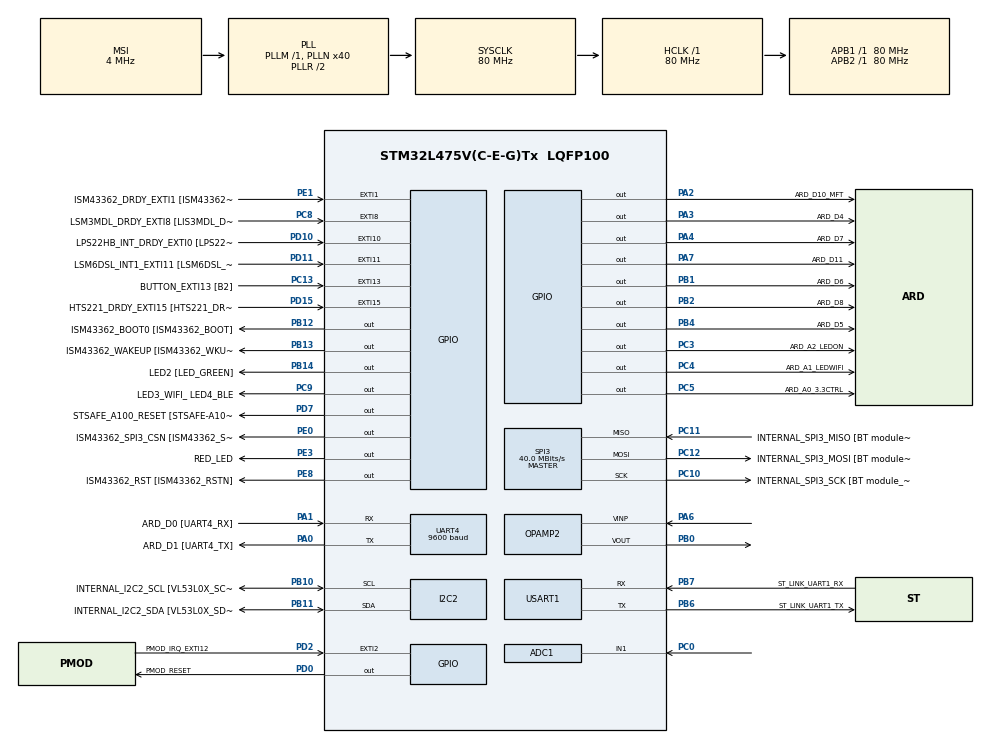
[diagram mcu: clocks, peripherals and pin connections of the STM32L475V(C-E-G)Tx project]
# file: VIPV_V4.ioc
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ADC1.Channel-1\#ChannelRegularConversion=ADC_CHANNEL_1
ADC1.ClockPrescaler=ADC_CLOCK_ASYNC_DIV12
ADC1.ContinuousConvMode=ENABLE
ADC1.DMAContinuousRequests=ENABLE
ADC1.EOCSelection=ADC_EOC_SINGLE_CONV
ADC1.EnableAnalogWatchDog1=false
ADC1.ExternalTrigConv=ADC_EXTERNALTRIG_T3_TRGO
ADC1.LowPowerAutoWait=ENABLE
ADC1.NbrOfConversionFlag=1
ADC1.OffsetNumber-1\#ChannelRegularConversion=ADC_OFFSET_NONE
ADC1.OversamplingMode=ENABLE
ADC1.Rank-1\#ChannelRegularConversion=1
ADC1.Ratio=ADC_OVERSAMPLING_RATIO_64
ADC1.RightBitShift=ADC_RIGHTBITSHIFT_6
ADC1.SamplingTime-1\#ChannelRegularConversion=ADC_SAMPLETIME_92CYCLES_5
ADC1.master=1
Dma.ADC1.0.Direction=DMA_PERIPH_TO_MEMORY
Dma.ADC1.0.Instance=DMA1_Channel1
Dma.ADC1.0.MemDataAlignment=DMA_MDATAALIGN_HALFWORD
Dma.ADC1.0.MemInc=DMA_MINC_ENABLE
Dma.ADC1.0.Mode=DMA_CIRCULAR
Dma.ADC1.0.PeriphDataAlignment=DMA_PDATAALIGN_HALFWORD
Dma.ADC1.0.PeriphInc=DMA_PINC_DISABLE
Dma.ADC1.0.Priority=DMA_PRIORITY_LOW
Dma.Request0=ADC1
Dma.Request1=UART4_RX
Dma.UART4_RX.1.Direction=DMA_PERIPH_TO_MEMORY
Dma.UART4_RX.1.Instance=DMA2_Channel5
Dma.UART4_RX.1.MemDataAlignment=DMA_MDATAALIGN_BYTE
Dma.UART4_RX.1.MemInc=DMA_MINC_ENABLE
Dma.UART4_RX.1.Mode=DMA_CIRCULAR
Dma.UART4_RX.1.PeriphDataAlignment=DMA_PDATAALIGN_BYTE
Dma.UART4_RX.1.PeriphInc=DMA_PINC_DISABLE
Dma.UART4_RX.1.Priority=DMA_PRIORITY_LOW
I2C2.Timing=0x10909CEC
LPTIM1.ClockPrescaler=LPTIM_PRESCALER_DIV128
LPTIM2.ClockPrescaler=LPTIM_PRESCALER_DIV128
Mcu.Family=STM32L4
Mcu.Name=STM32L475V(C-E-G)Tx
Mcu.Package=LQFP100
NVIC.DMA1_Channel1_IRQn=true\:0\:0\:true\:false\:true\:false\:true\:true
NVIC.DMA2_Channel5_IRQn=true\:0\:0\:false\:false\:true\:false\:true\:true
NVIC.EXTI15_10_IRQn=true\:0\:0\:true\:false\:true\:true\:true\:true
NVIC.EXTI9_5_IRQn=true\:0\:0\:true\:false\:true\:true\:true\:true
NVIC.LPTIM1_IRQn=true\:0\:0\:false\:false\:true\:true\:true\:true
NVIC.LPTIM2_IRQn=true\:0\:0\:false\:false\:true\:true\:true\:true
NVIC.PriorityGroup=NVIC_PRIORITYGROUP_3
NVIC.RTC_WKUP_IRQn=true\:0\:0\:true\:false\:true\:true\:true\:true
NVIC.SPI3_IRQn=true\:0\:0\:true\:false\:true\:true\:true\:true
NVIC.TIM6_DAC_IRQn=true\:0\:0\:false\:false\:true\:true\:true\:true
OPAMP2.PgaGain=OPAMP_PGA_GAIN_4
OPAMP2.PowerMode=OPAMP_POWERMODE_LOWPOWER
OPAMP2.PowerSupplyRange=OPAMP_POWERSUPPLY_HIGH
OPAMP2.SelfCalibration=Enable
PA0.GPIO_Label=ARD_D1 [UART4_TX]
PA0.Mode=Asynchronous
PA0.Signal=UART4_TX
PA1.GPIO_Label=ARD_D0 [UART4_RX]
PA1.Mode=Asynchronous
PA1.Signal=UART4_RX
PA13\ (JTMS-SWDIO).GPIO_Label=SYS_JTMS_SWDIO
PA13\ (JTMS-SWDIO).Mode=Serial_Wire
PA13\ (JTMS-SWDIO).Signal=SYS_JTMS-SWDIO
PA14\ (JTCK-SWCLK).GPIO_Label=SYS_JTCK_SWCLK
PA14\ (JTCK-SWCLK).Mode=Serial_Wire
PA14\ (JTCK-SWCLK).Signal=SYS_JTCK-SWCLK
PA2.GPIO_Label=ARD_D10_MFT
PA2.GPIO_PuPd=GPIO_PULLDOWN
PA2.PinState=GPIO_PIN_RESET
PA2.Signal=GPIO_Output
PA3.GPIO_Label=ARD_D4
PA3.GPIO_ModeDefaultOutputPP=GPIO_MODE_OUTPUT_PP
PA3.GPIO_PuPd=GPIO_PULLUP
PA3.PinState=GPIO_PIN_SET
PA3.Signal=GPIO_Output
PA4.GPIO_Label=ARD_D7
PA4.GPIO_PuPd=GPIO_PULLUP
PA4.PinState=GPIO_PIN_SET
PA4.Signal=GPIO_Output
PA6.Mode=PGA Not Connected
PA6.Signal=OPAMP2_VINP
PA7.GPIO_Label=ARD_D11
PA7.GPIO_ModeDefaultOutputPP=GPIO_MODE_OUTPUT_PP
PA7.GPIO_PuPd=GPIO_PULLUP
PA7.PinState=GPIO_PIN_SET
PA7.Signal=GPIO_Output
PB0.Mode=PGA Not Connected
PB0.Signal=OPAMP2_VOUT
PB1.GPIO_Label=ARD_D6
PB1.GPIO_PuPd=GPIO_PULLUP
PB1.PinState=GPIO_PIN_SET
PB1.Signal=GPIO_Output
PB10.GPIO_Label=INTERNAL_I2C2_SCL [VL53L0X_SCL]
PB10.GPIO_Pu=GPIO_PULLUP
PB10.Mode=I2C
PB10.Signal=I2C2_SCL
PB11.GPIO_Label=INTERNAL_I2C2_SDA [VL53L0X_SDA]
PB11.GPIO_Pu=GPIO_PULLUP
PB11.Mode=I2C
PB11.Signal=I2C2_SDA
PB12.GPIO_Label=ISM43362_BOOT0 [ISM43362_BOOT]
PB12.Signal=GPIO_Output
PB13.GPIO_Label=ISM43362_WAKEUP [ISM43362_WKUP]
PB13.Signal=GPIO_Output
PB14.GPIO_Label=LED2 [LED_GREEN]
PB14.Signal=GPIO_Output
PB2.GPIO_Label=ARD_D8
PB2.GPIO_ModeDefaultOutputPP=GPIO_MODE_OUTPUT_PP
PB2.GPIO_PuPd=GPIO_PULLUP
PB2.PinState=GPIO_PIN_SET
PB2.Signal=GPIO_Output
PB3\ (JTDO-TRACESWO).GPIO_Label=SYS_JTD0_SWO
PB3\ (JTDO-TRACESWO).Signal=SYS_JTDO-SWO
PB4\ (NJTRST).GPIO_Label=ARD_D5
PB4\ (NJTRST).GPIO_PuPd=GPIO_PULLUP
PB4\ (NJTRST).PinState=GPIO_PIN_SET
PB4\ (NJTRST).Signal=GPIO_Output
PB6.GPIO_Label=ST_LINK_UART1_TX
PB6.Mode=Asynchronous
PB6.Signal=USART1_TX
PB7.GPIO_Label=ST_LINK_UART1_RX
PB7.Mode=Asynchronous
PB7.Signal=USART1_RX
PB8.GPIO_Label=ARD_D15 [I2C1_SCL]
PB8.Signal=I2C1_SCL
PB9.GPIO_Label=ARD_D14 [I2C1_SDA]
PB9.Signal=I2C1_SDA
PC0.Signal=ADCx_IN1
PC10.GPIO_Label=INTERNAL_SPI3_SCK [BT module_SPI_SCLK] [ISM43362_SCK]
PC10.Mode=Full_Duplex_Master
PC10.Signal=SPI3_SCK
PC11.GPIO_Label=INTERNAL_SPI3_MISO [BT module_SPI_MISO] [ISM43362_MISO]
PC11.Mode=Full_Duplex_Master
PC11.Signal=SPI3_MISO
PC12.GPIO_Label=INTERNAL_SPI3_MOSI [BT module_SPI_MOSI] [ISM43362_MOSI]
PC12.Mode=Full_Duplex_Master
PC12.Signal=SPI3_MOSI
PC13.GPIO_Label=BUTTON_EXTI13 [B2]
PC13.GPIO_ModeDefaultEXTI=GPIO_MODE_IT_FALLING
PC13.Signal=GPXTI13
PC14-OSC32_IN\ (PC14).Mode=LSE-External-Oscillator
PC14-OSC32_IN\ (PC14).Signal=RCC_OSC32_IN
PC15-OSC32_OUT\ (PC15).Mode=LSE-External-Oscillator
PC15-OSC32_OUT\ (PC15).Signal=RCC_OSC32_OUT
PC3.GPIO_Label=ARD_A2_LEDON
PC3.GPIO_PuPd=GPIO_NOPULL
PC3.Signal=GPIO_Output
PC4.GPIO_Label=ARD_A1_LEDWIFI
PC4.GPIO_PuPd=GPIO_NOPULL
PC4.Signal=GPIO_Output
PC5.GPIO_Label=ARD_A0_3.3CTRL
PC5.GPIO_ModeDefaultOutputPP=GPIO_MODE_OUTPUT_PP
PC5.GPIO_PuPd=GPIO_PULLUP
PC5.PinState=GPIO_PIN_SET
PC5.Signal=GPIO_Output
PC8.GPIO_Label=LSM3MDL_DRDY_EXTI8 [LIS3MDL_DRDY]
PC8.Signal=GPXTI8
PC9.GPIO_Label=LED3_WIFI_ LED4_BLE
PC9.Signal=GPIO_Output
PD0.GPIO_Label=PMOD_RESET
PD0.Signal=GPIO_Output
PD1.GPIO_Label=PMOD_SPI2_SCK
PD1.Signal=SPI2_SCK
PD10.GPIO_Label=LPS22HB_INT_DRDY_EXTI0 [LPS22HB_INT_DRDY] 
PD10.Signal=GPXTI10
PD11.GPIO_Label=LSM6DSL_INT1_EXTI11 [LSM6DSL_INT1]
PD11.Signal=GPXTI11
PD15.GPIO_Label=HTS221_DRDY_EXTI15 [HTS221_DRDY]
PD15.Signal=GPXTI15
PD2.GPIO_Label=PMOD_IRQ_EXTI12
PD2.Signal=GPXTI2
PD3.GPIO_Label=PMOD_UART2_CTS
PD3.Signal=USART2_CTS
PD4.GPIO_Label=PMOD_UART2_RTS
PD4.Signal=USART2_RTS
PD5.GPIO_Label=PMOD_UART2_TX
PD5.Signal=USART2_TX
PD6.GPIO_Label=PMOD_UART2_RX
PD6.Signal=USART2_RX
PD7.GPIO_Label=STSAFE_A100_RESET [STSAFE-A100_RESET]
PD7.Signal=GPIO_Output
PD8.GPIO_Label=INTERNAL_UART3_TX [ISM43362_RX]
PD8.Signal=USART3_TX
PD9.GPIO_Label=INTERNAL_UART3_RX [ISM43362_TX]
PD9.Signal=USART3_RX
PE0.GPIO_Label=ISM43362_SPI3_CSN [ISM43362_SSN]
PE0.PinState=GPIO_PIN_SET
PE0.Signal=GPIO_Output
PE1.GPIO_Label=ISM43362_DRDY_EXTI1 [ISM43362_DATARDY]
PE1.Signal=GPXTI1
PE10.GPIO_Label=QUADSPI_CLK [MX25R6435F_SCLK]
PE10.Signal=QUADSPI_CLK
PE11.GPIO_Label=QUADSPI_NCS [MX25R6435F_SCLK]
PE11.Signal=QUADSPI_NCS
PE12.GPIO_Label=OQUADSPI_BK1_IO0 [MX25R6435F_IO0]
PE12.Signal=QUADSPI_BK1_IO0
PE13.GPIO_Label=QUADSPI_BK1_IO1 [MX25R6435F_IO1]
PE13.Signal=QUADSPI_BK1_IO1
PE14.GPIO_Label=QUAD_SPI_BK1_IO2 [MX25R6435F_IO2]
PE14.Signal=QUADSPI_BK1_IO2
PE15.GPIO_Label=QUAD_SPI_BK1_IO3 [MX25R6435F_IO3]
PE15.Signal=QUADSPI_BK1_IO3
PE3.GPIO_Label=RED_LED
PE3.Signal=GPIO_Output
PE7.GPIO_Label=DFSDM1_DATIN2 [MP34DT01_DOUT]
PE7.Signal=S_DATAIN2DFSDM1
PE8.GPIO_Label=ISM43362_RST [ISM43362_RSTN]
PE8.Signal=GPIO_Output
PE9.GPIO_Label=DFSDM1_CKOUT [MP34DT01_CLK]
PE9.Signal=S_CKOUTDFSDM1
ProjectManager.HeapSize=0x200
ProjectManager.StackSize=0x400
ProjectManager.TargetToolchain=STM32CubeIDE
RCC.ADCFreq_Value=48000000
RCC.AHBFreq_Value=80000000
RCC.APB1Freq_Value=80000000
RCC.APB1TimFreq_Value=80000000
RCC.APB2Freq_Value=80000000
RCC.APB2TimFreq_Value=80000000
RCC.CortexFreq_Value=80000000
RCC.HCLKFreq_Value=80000000
RCC.HSE_VALUE=8000000
RCC.HSI_VALUE=16000000
RCC.LPTIM1CLockSelection=RCC_LPTIM1CLKSOURCE_LSE
RCC.LPTIM2CLockSelection=RCC_LPTIM2CLKSOURCE_LSE
RCC.MSI_VALUE=4000000
RCC.PLLN=40
RCC.PLLSAI1N=24
RCC.RTCClockSelection=RCC_RTCCLKSOURCE_LSE
RCC.SYSCLKFreq_VALUE=80000000
RCC.SYSCLKSource=RCC_SYSCLKSOURCE_PLLCLK
RCC.USBFreq_Value=48000000
RCC.VCOOutputFreq_Value=160000000
RTC.Format=RTC_FORMAT_BIN
SH.ADCx_IN1.0=ADC2_IN1
SH.ADCx_IN1.1=ADC1_IN1,IN1-Single-Ended
SH.S_CKOUTDFSDM1.0=DFSDM1_CKOUT
SH.S_DATAIN2DFSDM1.0=DFSDM1_DATIN2
SPI3.CalculateBaudRate=40.0 MBits/s
SPI3.Direction=SPI_DIRECTION_2LINES
SPI3.Mode=SPI_MODE_MASTER
SPI3.VirtualType=VM_MASTER
STMicroelectronics.X-CUBE-MEMS1.8.1.1.STM32IiMotionFXIiLibraryCcSensorsJjSTM32IiMotionFXIiLibraryJjCore=true
TIM3.Period=10-1
TIM3.Prescaler=8000-1
TIM3.TIM_MasterOutputTrigger=TIM_TRGO_UPDATE
TIM3.TIM_MasterSlaveMode=TIM_MASTERSLAVEMODE_ENABLE
TIM6.Period=(200-1)
TIM6.Prescaler=(8000-1)
TIM6.TIM_MasterOutputTrigger=TIM_TRGO_UPDATE
UART4.BaudRate=9600
UART4.Mode=MODE_RX
USART1.VirtualMode-Asynchronous=VM_ASYNC
VP_ADC1_TempSens_Input.Mode=IN-TempSens
VP_ADC1_Vbat_Input.Mode=IN-Vbat
VP_ADC1_Vref_Input.Mode=IN-Vrefint
VP_CRC_VS_CRC.Mode=CRC_Activate
VP_LPTIM1_VS_LPTIM_counterModeInternalClock.Mode=Counts__internal_clock_event_00
VP_LPTIM2_VS_LPTIM_counterModeInternalClock.Mode=Counts__internal_clock_event_00
VP_RNG_VS_RNG.Mode=RNG_Activate
VP_RTC_VS_RTC_Activate.Mode=RTC_Enabled
VP_RTC_VS_RTC_Calendar.Mode=RTC_Calendar
VP_RTC_VS_RTC_WakeUp_intern.Mode=WakeUp
VP_STMicroelectronics.X-CUBE-MEMS1_VS_SensorsJjSTM32IiMotionFXIiLibrary_2.4.1_8.1.1.Mode=SensorsJjSTM32IiMotionFXIiLibrary
VP_TIM3_VS_ClockSourceINT.Mode=Internal
VP_TIM6_VS_ClockSourceINT.Mode=Enable_Timer
VREF+.Mode=InternalMode
VREF+.Signal=VREFBUF_OUT
board=B-L475E-IOT01A1

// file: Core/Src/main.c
/* USER CODE BEGIN Header */
/**
  ******************************************************************************
  * @file           : main.c
  * @brief          : Main program body
  ******************************************************************************
  * @attention
  *
  * <h2><center>&copy; Copyright (c) 2020 STMicroelectronics.
  * All rights reserved.</center></h2>
  *
  * This software component is licensed by ST under BSD 3-Clause license,
  * the "License"; You may not use this file except in compliance with the
  * License. You may obtain a copy of the License at:
  *                        opensource.org/licenses/BSD-3-Clause
  *
  ******************************************************************************
  ***** FICHERO PRINCIPAL DEL PROYECTO DE CÓDIGO TFG Sergio Vera Muñoz 2020*****
  */
/* USER CODE END Header */
#include "main.h"

/* USER CODE BEGIN PM */
// --------VARIABLES GLOBALES UTILIZADAS-----------
uint32_t ADC1_buffer = 0 ;	//variable a almacenar el nivel del ADC por DMA

size_t old_pos =0, pos=0;	//las posiciones del buffer circular NMEA

static volatile uint8_t button_flags = 0;	//para controlar botón de usuario con interrupciones

char buffc_DMA_UART[TAM_BUFNMEA] ={'\0'};	//Buffer para almacenar cadenas entrantes de UART por DMA

//volatile float beta = 0.5f;				// algorithm gain
//volatile float q0=0.0f, q1=0.0f, q2=0.0f, q3=0.0f;	// quaternion of sensor frame relative to auxiliary frame

/* USER CODE END PM */

ADC_HandleTypeDef hadc1;
DMA_HandleTypeDef hdma_adc1;

CRC_HandleTypeDef hcrc;

I2C_HandleTypeDef hi2c2;

LPTIM_HandleTypeDef hlptim1;
LPTIM_HandleTypeDef hlptim2;

OPAMP_HandleTypeDef hopamp2;

RNG_HandleTypeDef hrng;

RTC_HandleTypeDef hrtc;

SPI_HandleTypeDef hspi3;

TIM_HandleTypeDef htim3;
TIM_HandleTypeDef htim6;

UART_HandleTypeDef huart4;
UART_HandleTypeDef huart1;
DMA_HandleTypeDef hdma_uart4_rx;

/* USER CODE BEGIN PV */
net_hnd_t         hnet; /* Es inicializado porcloud_main(). */
/* USER CODE END PV */

void SystemClock_Config(void);
static void MX_GPIO_Init(void);
static void MX_DMA_Init(void);
static void MX_ADC1_Init(void);
static void MX_UART4_Init(void);
static void MX_TIM3_Init(void);
static void MX_USART1_UART_Init(void);
static void MX_I2C2_Init(void);
static void MX_RNG_Init(void);
static void MX_RTC_Init(void);
static void MX_SPI3_Init(void);
static void MX_OPAMP2_Init(void);
static void MX_LPTIM1_Init(void);
static void MX_LPTIM2_Init(void);
static void MX_CRC_Init(void);
static void MX_TIM6_Init(void);
/* USER CODE BEGIN PFP */
void SPI_WIFI_ISR(void);
static void Button_ISR(void);
static void conexion_IoT(void);
/* USER CODE END PFP */

int main(void)
{

  /* MCU Configuration--------------------------------------------------------*/

  /* Reset of all peripherals, Initializes the Flash interface and the Systick. */
  HAL_Init();

  /* Configure the system clock */
  SystemClock_Config();

  /* USER CODE BEGIN SysInit */
  BSP_LED_Init(LED_GREEN);	//Led de usuario en la placa
  BSP_PB_Init(BUTTON_USER, BUTTON_MODE_EXTI);	//PushButton de la placa
  /* USER CODE END SysInit */

  /* Initialize all configured peripherals */
  MX_GPIO_Init();
  MX_DMA_Init();
  MX_ADC1_Init();
  MX_UART4_Init();
  MX_TIM3_Init();
  MX_USART1_UART_Init();
  MX_I2C2_Init();
  MX_RNG_Init();
  MX_RTC_Init();
  MX_SPI3_Init();
  MX_OPAMP2_Init();
  MX_LPTIM1_Init();
  MX_LPTIM2_Init();
  MX_CRC_Init();
  MX_TIM6_Init();
  /* USER CODE BEGIN 2 */

  if( HAL_OK != init_sensors() )
  {
	  Error_Handler();
  }

 MX_MEMS_Init();

  /* Estado inicial de algunos puertos de salida*/
  HAL_GPIO_WritePin(ARD_A0_3_3CTRL_GPIO_Port, ARD_A0_3_3CTRL_Pin, GPIO_PIN_SET);
  	  	  	  	  	  	  	  /*encender alimentacion sensores a 3.3V del BMS */
  HAL_GPIO_WritePin(LED3_WIFI__LED4_BLE_GPIO_Port, LED3_WIFI__LED4_BLE_Pin, GPIO_PIN_SET );
  HAL_GPIO_WritePin(GPIOC, ARD_A1_LEDWIFI_Pin, GPIO_PIN_RESET);	//LED de conexión Wi-Fi

  HAL_GPIO_WritePin(GPIOC, ARD_A2_LEDON_Pin, GPIO_PIN_SET); //LED de programa encendido correctamente

  HAL_GPIO_WritePin(GPIOA, ARD_D4_Pin, GPIO_PIN_SET);	//Carga inicial de los módulos FV
  HAL_GPIO_WritePin(GPIOB, ARD_D5_Pin, GPIO_PIN_SET);
  HAL_GPIO_WritePin(GPIOB, ARD_D6_Pin, GPIO_PIN_SET);
  HAL_GPIO_WritePin(GPIOA, ARD_D7_Pin, GPIO_PIN_SET);
  HAL_GPIO_WritePin(GPIOB, ARD_D8_Pin, GPIO_PIN_SET);

  HAL_GPIO_WritePin(ARD_D10_MFT_GPIO_Port, ARD_D10_MFT_Pin, GPIO_PIN_RESET); //Apagado interruptor de medida

  printf("\x1b[2J" "\x1b[f"); //limpiar buffer y ventana de TeraTerm

  printf("\n\n\n\n\n");
  printf("#############################################################################################\n"
		 "#######                 				  SENSOR VIPV   		    		            #######\n"
         "#######        	     	    Continuacion TFG Sergio Vera	                        #######\n"
         "#######      Sensor IoT para la integracion fotovoltaica en vehiculos electricos      #######\n"
         "#######    Universidad Politecnica de Madrid - ETSIDI - Instituto de Energia Solar    #######\n"
         "#######                  		     Madrid - mayo de 2023    							#######\n"
		 "#######                       							   							#######\n"
		 "#######                  		  ** VERSION 4 - MEMORIA SD **							#######\n"
		 "#######                      															#######\n"
         "#############################################################################################\n");
  printf("\n\n");

  conexion_IoT();		/*Entra en las funciones de conexion a internet y configuracion dispositivo IoT.
  	  	  	  	  	  	 * Una vez en ellas, entra en un bucle infinito de recabar datos y publicarlos
  	  	  	  	  	  	  */

  HAL_NVIC_SystemReset(); //en caso de salida del bucle principal, reinicia el programa enetero

  /* USER CODE END 2 */

  /* Infinite loop */
  while (1)
  {
	  	  Error_Handler(); //el programa no debería llegar nunca al bucle infinito.
  }
}

void SystemClock_Config(void)
{
  RCC_OscInitTypeDef RCC_OscInitStruct = {0};
  RCC_ClkInitTypeDef RCC_ClkInitStruct = {0};
  RCC_PeriphCLKInitTypeDef PeriphClkInit = {0};

  /** Configure LSE Drive Capability
  */
  HAL_PWR_EnableBkUpAccess();
  __HAL_RCC_LSEDRIVE_CONFIG(RCC_LSEDRIVE_LOW);
  /** Initializes the RCC Oscillators according to the specified parameters
  * in the RCC_OscInitTypeDef structure.
  */
  RCC_OscInitStruct.OscillatorType = RCC_OSCILLATORTYPE_LSE|RCC_OSCILLATORTYPE_MSI;
  RCC_OscInitStruct.LSEState = RCC_LSE_ON;
  RCC_OscInitStruct.MSIState = RCC_MSI_ON;
  RCC_OscInitStruct.MSICalibrationValue = 0;
  RCC_OscInitStruct.MSIClockRange = RCC_MSIRANGE_6;
  RCC_OscInitStruct.PLL.PLLState = RCC_PLL_ON;
  RCC_OscInitStruct.PLL.PLLSource = RCC_PLLSOURCE_MSI;
  RCC_OscInitStruct.PLL.PLLM = 1;
  RCC_OscInitStruct.PLL.PLLN = 40;
  RCC_OscInitStruct.PLL.PLLP = RCC_PLLP_DIV7;
  RCC_OscInitStruct.PLL.PLLQ = RCC_PLLQ_DIV2;
  RCC_OscInitStruct.PLL.PLLR = RCC_PLLR_DIV2;
  if (HAL_RCC_OscConfig(&RCC_OscInitStruct) != HAL_OK)
  {
    Error_Handler();
  }
  /** Initializes the CPU, AHB and APB buses clocks
  */
  RCC_ClkInitStruct.ClockType = RCC_CLOCKTYPE_HCLK|RCC_CLOCKTYPE_SYSCLK
                              |RCC_CLOCKTYPE_PCLK1|RCC_CLOCKTYPE_PCLK2;
  RCC_ClkInitStruct.SYSCLKSource = RCC_SYSCLKSOURCE_PLLCLK;
  RCC_ClkInitStruct.AHBCLKDivider = RCC_SYSCLK_DIV1;
  RCC_ClkInitStruct.APB1CLKDivider = RCC_HCLK_DIV1;
  RCC_ClkInitStruct.APB2CLKDivider = RCC_HCLK_DIV1;

  if (HAL_RCC_ClockConfig(&RCC_ClkInitStruct, FLASH_LATENCY_4) != HAL_OK)
  {
    Error_Handler();
  }
  PeriphClkInit.PeriphClockSelection = RCC_PERIPHCLK_RTC|RCC_PERIPHCLK_USART1
                              |RCC_PERIPHCLK_UART4|RCC_PERIPHCLK_LPTIM1
                              |RCC_PERIPHCLK_LPTIM2|RCC_PERIPHCLK_I2C2
                              |RCC_PERIPHCLK_RNG|RCC_PERIPHCLK_ADC;
  PeriphClkInit.Usart1ClockSelection = RCC_USART1CLKSOURCE_PCLK2;
  PeriphClkInit.Uart4ClockSelection = RCC_UART4CLKSOURCE_PCLK1;
  PeriphClkInit.I2c2ClockSelection = RCC_I2C2CLKSOURCE_PCLK1;
  PeriphClkInit.Lptim1ClockSelection = RCC_LPTIM1CLKSOURCE_LSE;
  PeriphClkInit.Lptim2ClockSelection = RCC_LPTIM2CLKSOURCE_LSE;
  PeriphClkInit.AdcClockSelection = RCC_ADCCLKSOURCE_PLLSAI1;
  PeriphClkInit.RTCClockSelection = RCC_RTCCLKSOURCE_LSE;
  PeriphClkInit.RngClockSelection = RCC_RNGCLKSOURCE_PLLSAI1;
  PeriphClkInit.PLLSAI1.PLLSAI1Source = RCC_PLLSOURCE_MSI;
  PeriphClkInit.PLLSAI1.PLLSAI1M = 1;
  PeriphClkInit.PLLSAI1.PLLSAI1N = 24;
  PeriphClkInit.PLLSAI1.PLLSAI1P = RCC_PLLP_DIV7;
  PeriphClkInit.PLLSAI1.PLLSAI1Q = RCC_PLLQ_DIV2;
  PeriphClkInit.PLLSAI1.PLLSAI1R = RCC_PLLR_DIV2;
  PeriphClkInit.PLLSAI1.PLLSAI1ClockOut = RCC_PLLSAI1_48M2CLK|RCC_PLLSAI1_ADC1CLK;
  if (HAL_RCCEx_PeriphCLKConfig(&PeriphClkInit) != HAL_OK)
  {
    Error_Handler();
  }
  /** Configure the main internal regulator output voltage
  */
  if (HAL_PWREx_ControlVoltageScaling(PWR_REGULATOR_VOLTAGE_SCALE1) != HAL_OK)
  {
    Error_Handler();
  }
  /** Enable MSI Auto calibration
  */
  HAL_RCCEx_EnableMSIPLLMode();
}

static void MX_ADC1_Init(void)
{

  ADC_MultiModeTypeDef multimode = {0};
  ADC_ChannelConfTypeDef sConfig = {0};

  /** Common config
  */
  hadc1.Instance = ADC1;
  hadc1.Init.ClockPrescaler = ADC_CLOCK_ASYNC_DIV12;
  hadc1.Init.Resolution = ADC_RESOLUTION_12B;
  hadc1.Init.DataAlign = ADC_DATAALIGN_RIGHT;
  hadc1.Init.ScanConvMode = ADC_SCAN_DISABLE;
  hadc1.Init.EOCSelection = ADC_EOC_SINGLE_CONV;
  hadc1.Init.LowPowerAutoWait = ENABLE;
  hadc1.Init.ContinuousConvMode = ENABLE;
  hadc1.Init.NbrOfConversion = 1;
  hadc1.Init.DiscontinuousConvMode = DISABLE;
  hadc1.Init.ExternalTrigConv = ADC_EXTERNALTRIG_T3_TRGO;
  hadc1.Init.ExternalTrigConvEdge = ADC_EXTERNALTRIGCONVEDGE_RISING;
  hadc1.Init.DMAContinuousRequests = ENABLE;
  hadc1.Init.Overrun = ADC_OVR_DATA_PRESERVED;
  hadc1.Init.OversamplingMode = ENABLE;
  hadc1.Init.Oversampling.Ratio = ADC_OVERSAMPLING_RATIO_64;
  hadc1.Init.Oversampling.RightBitShift = ADC_RIGHTBITSHIFT_6;
  hadc1.Init.Oversampling.TriggeredMode = ADC_TRIGGEREDMODE_SINGLE_TRIGGER;
  hadc1.Init.Oversampling.OversamplingStopReset = ADC_REGOVERSAMPLING_CONTINUED_MODE;
  if (HAL_ADC_Init(&hadc1) != HAL_OK)
  {
    Error_Handler();
  }
  /** Configure the ADC multi-mode
  */
  multimode.Mode = ADC_MODE_INDEPENDENT;
  if (HAL_ADCEx_MultiModeConfigChannel(&hadc1, &multimode) != HAL_OK)
  {
    Error_Handler();
  }
  /** Configure Regular Channel
  */
  sConfig.Channel = ADC_CHANNEL_1;
  sConfig.Rank = ADC_REGULAR_RANK_1;
  sConfig.SamplingTime = ADC_SAMPLETIME_92CYCLES_5;
  sConfig.SingleDiff = ADC_SINGLE_ENDED;
  sConfig.OffsetNumber = ADC_OFFSET_NONE;
  sConfig.Offset = 0;
  if (HAL_ADC_ConfigChannel(&hadc1, &sConfig) != HAL_OK)
  {
    Error_Handler();
  }
  /* USER CODE BEGIN ADC1_Init 2 */
  if (HAL_OK != HAL_ADCEx_Calibration_Start(&hadc1, ADC_SINGLE_ENDED))
	  	  Error_Handler();

  if (HAL_OK != HAL_ADC_Start_DMA(&hadc1, &ADC1_buffer, 1))
	  	  Error_Handler();
  /* USER CODE END ADC1_Init 2 */

}

static void MX_CRC_Init(void)
{

  hcrc.Instance = CRC;
  hcrc.Init.DefaultPolynomialUse = DEFAULT_POLYNOMIAL_ENABLE;
  hcrc.Init.DefaultInitValueUse = DEFAULT_INIT_VALUE_ENABLE;
  hcrc.Init.InputDataInversionMode = CRC_INPUTDATA_INVERSION_NONE;
  hcrc.Init.OutputDataInversionMode = CRC_OUTPUTDATA_INVERSION_DISABLE;
  hcrc.InputDataFormat = CRC_INPUTDATA_FORMAT_BYTES;
  if (HAL_CRC_Init(&hcrc) != HAL_OK)
  {
    Error_Handler();
  }

}

static void MX_I2C2_Init(void)
{

  hi2c2.Instance = I2C2;
  hi2c2.Init.Timing = 0x10909CEC;
  hi2c2.Init.OwnAddress1 = 0;
  hi2c2.Init.AddressingMode = I2C_ADDRESSINGMODE_7BIT;
  hi2c2.Init.DualAddressMode = I2C_DUALADDRESS_DISABLE;
  hi2c2.Init.OwnAddress2 = 0;
  hi2c2.Init.OwnAddress2Masks = I2C_OA2_NOMASK;
  hi2c2.Init.GeneralCallMode = I2C_GENERALCALL_DISABLE;
  hi2c2.Init.NoStretchMode = I2C_NOSTRETCH_DISABLE;
  if (HAL_I2C_Init(&hi2c2) != HAL_OK)
  {
    Error_Handler();
  }
  /** Configure Analogue filter
  */
  if (HAL_I2CEx_ConfigAnalogFilter(&hi2c2, I2C_ANALOGFILTER_ENABLE) != HAL_OK)
  {
    Error_Handler();
  }
  /** Configure Digital filter
  */
  if (HAL_I2CEx_ConfigDigitalFilter(&hi2c2, 0) != HAL_OK)
  {
    Error_Handler();
  }

}

static void MX_LPTIM1_Init(void)
{

  hlptim1.Instance = LPTIM1;
  hlptim1.Init.Clock.Source = LPTIM_CLOCKSOURCE_APBCLOCK_LPOSC;
  hlptim1.Init.Clock.Prescaler = LPTIM_PRESCALER_DIV128;
  hlptim1.Init.Trigger.Source = LPTIM_TRIGSOURCE_SOFTWARE;
  hlptim1.Init.OutputPolarity = LPTIM_OUTPUTPOLARITY_HIGH;
  hlptim1.Init.UpdateMode = LPTIM_UPDATE_IMMEDIATE;
  hlptim1.Init.CounterSource = LPTIM_COUNTERSOURCE_INTERNAL;
  hlptim1.Init.Input1Source = LPTIM_INPUT1SOURCE_GPIO;
  hlptim1.Init.Input2Source = LPTIM_INPUT2SOURCE_GPIO;
  if (HAL_LPTIM_Init(&hlptim1) != HAL_OK)
  {
    Error_Handler();
  }
  /* USER CODE BEGIN LPTIM1_Init 2 */
  HAL_PWREx_EnableInternalWakeUpLine();
  HAL_PWR_DisableSleepOnExit(); //para entrar los modos de bajo consumo tras las interrupciones
  /* USER CODE END LPTIM1_Init 2 */

}

static void MX_LPTIM2_Init(void)
{

  hlptim2.Instance = LPTIM2;
  hlptim2.Init.Clock.Source = LPTIM_CLOCKSOURCE_APBCLOCK_LPOSC;
  hlptim2.Init.Clock.Prescaler = LPTIM_PRESCALER_DIV128;
  hlptim2.Init.Trigger.Source = LPTIM_TRIGSOURCE_SOFTWARE;
  hlptim2.Init.OutputPolarity = LPTIM_OUTPUTPOLARITY_HIGH;
  hlptim2.Init.UpdateMode = LPTIM_UPDATE_IMMEDIATE;
  hlptim2.Init.CounterSource = LPTIM_COUNTERSOURCE_INTERNAL;
  hlptim2.Init.Input1Source = LPTIM_INPUT1SOURCE_GPIO;
  hlptim2.Init.Input2Source = LPTIM_INPUT2SOURCE_GPIO;
  if (HAL_LPTIM_Init(&hlptim2) != HAL_OK)
  {
    Error_Handler();
  }

}

static void MX_OPAMP2_Init(void)
{

  hopamp2.Instance = OPAMP2;
  hopamp2.Init.PowerSupplyRange = OPAMP_POWERSUPPLY_HIGH;
  hopamp2.Init.Mode = OPAMP_PGA_MODE;
  hopamp2.Init.NonInvertingInput = OPAMP_NONINVERTINGINPUT_IO0;
  hopamp2.Init.InvertingInput = OPAMP_INVERTINGINPUT_CONNECT_NO;
  hopamp2.Init.PgaGain = OPAMP_PGA_GAIN_4;
  hopamp2.Init.PowerMode = OPAMP_POWERMODE_LOWPOWER;
  hopamp2.Init.UserTrimming = OPAMP_TRIMMING_FACTORY;
  if (HAL_OPAMP_Init(&hopamp2) != HAL_OK)
  {
    Error_Handler();
  }
  /* USER CODE BEGIN OPAMP2_Init 2 */

  if ( HAL_OPAMP_SelfCalibrate(&hopamp2) != HAL_OK)	//autocalibración inicial
  {
   Error_Handler();
  }

  if (HAL_OPAMP_Start(&hopamp2) != HAL_OK)	//arranque del Amplificador Operacional
  {
   Error_Handler();
  }
  /* USER CODE END OPAMP2_Init 2 */

}

static void MX_RNG_Init(void)
{

  hrng.Instance = RNG;
  if (HAL_RNG_Init(&hrng) != HAL_OK)
  {
    Error_Handler();
  }

}

static void MX_RTC_Init(void)
{

  RTC_TimeTypeDef sTime = {0};
  RTC_DateTypeDef sDate = {0};

  /** Initialize RTC Only
  */
  hrtc.Instance = RTC;
  hrtc.Init.HourFormat = RTC_HOURFORMAT_24;
  hrtc.Init.AsynchPrediv = 127;
  hrtc.Init.SynchPrediv = 255;
  hrtc.Init.OutPut = RTC_OUTPUT_DISABLE;
  hrtc.Init.OutPutRemap = RTC_OUTPUT_REMAP_NONE;
  hrtc.Init.OutPutPolarity = RTC_OUTPUT_POLARITY_HIGH;
  hrtc.Init.OutPutType = RTC_OUTPUT_TYPE_OPENDRAIN;
  if (HAL_RTC_Init(&hrtc) != HAL_OK)
  {
    Error_Handler();
  }

  /** Initialize RTC and set the Time and Date
  */
  sTime.Hours = 0;
  sTime.Minutes = 0;
  sTime.Seconds = 0;
  sTime.DayLightSaving = RTC_DAYLIGHTSAVING_NONE;
  sTime.StoreOperation = RTC_STOREOPERATION_RESET;
  if (HAL_RTC_SetTime(&hrtc, &sTime, RTC_FORMAT_BIN) != HAL_OK)
  {
    Error_Handler();
  }
  sDate.WeekDay = RTC_WEEKDAY_MONDAY;
  sDate.Month = RTC_MONTH_JANUARY;
  sDate.Date = 1;
  sDate.Year = 0;

  if (HAL_RTC_SetDate(&hrtc, &sDate, RTC_FORMAT_BIN) != HAL_OK)
  {
    Error_Handler();
  }
  /** Enable the WakeUp
  */
  if (HAL_RTCEx_SetWakeUpTimer_IT(&hrtc, 0, RTC_WAKEUPCLOCK_RTCCLK_DIV16) != HAL_OK)
  {
    Error_Handler();
  }
  /* USER CODE BEGIN RTC_Init 2 */
  HAL_RTCEx_WakeUpTimerIRQHandler(&hrtc);
  /* USER CODE END RTC_Init 2 */

}

static void MX_SPI3_Init(void)
{

  /* SPI3 parameter configuration*/
  hspi3.Instance = SPI3;
  hspi3.Init.Mode = SPI_MODE_MASTER;
  hspi3.Init.Direction = SPI_DIRECTION_2LINES;
  hspi3.Init.DataSize = SPI_DATASIZE_4BIT;
  hspi3.Init.CLKPolarity = SPI_POLARITY_LOW;
  hspi3.Init.CLKPhase = SPI_PHASE_1EDGE;
  hspi3.Init.NSS = SPI_NSS_SOFT;
  hspi3.Init.BaudRatePrescaler = SPI_BAUDRATEPRESCALER_2;
  hspi3.Init.FirstBit = SPI_FIRSTBIT_MSB;
  hspi3.Init.TIMode = SPI_TIMODE_DISABLE;
  hspi3.Init.CRCCalculation = SPI_CRCCALCULATION_DISABLE;
  hspi3.Init.CRCPolynomial = 7;
  hspi3.Init.CRCLength = SPI_CRC_LENGTH_DATASIZE;
  hspi3.Init.NSSPMode = SPI_NSS_PULSE_ENABLE;
  if (HAL_SPI_Init(&hspi3) != HAL_OK)
  {
    Error_Handler();
  }

}

static void MX_TIM3_Init(void)
{

  TIM_ClockConfigTypeDef sClockSourceConfig = {0};
  TIM_MasterConfigTypeDef sMasterConfig = {0};

  htim3.Instance = TIM3;
  htim3.Init.Prescaler = 8000-1;
  htim3.Init.CounterMode = TIM_COUNTERMODE_UP;
  htim3.Init.Period = 10-1;
  htim3.Init.ClockDivision = TIM_CLOCKDIVISION_DIV1;
  htim3.Init.AutoReloadPreload = TIM_AUTORELOAD_PRELOAD_DISABLE;
  if (HAL_TIM_Base_Init(&htim3) != HAL_OK)
  {
    Error_Handler();
  }
  sClockSourceConfig.ClockSource = TIM_CLOCKSOURCE_INTERNAL;
  if (HAL_TIM_ConfigClockSource(&htim3, &sClockSourceConfig) != HAL_OK)
  {
    Error_Handler();
  }
  sMasterConfig.MasterOutputTrigger = TIM_TRGO_UPDATE;
  sMasterConfig.MasterSlaveMode = TIM_MASTERSLAVEMODE_ENABLE;
  if (HAL_TIMEx_MasterConfigSynchronization(&htim3, &sMasterConfig) != HAL_OK)
  {
    Error_Handler();
  }
  /* USER CODE BEGIN TIM3_Init 2 */

  sMasterConfig.MasterOutputTrigger = TIM_TRGO_RESET;
  sMasterConfig.MasterSlaveMode = TIM_MASTERSLAVEMODE_DISABLE;
  if (HAL_TIMEx_MasterConfigSynchronization(&htim3, &sMasterConfig) != HAL_OK)
  {
    Error_Handler();
  }

  if (HAL_OK != HAL_TIM_Base_Start(&htim3) )
 	  Error_Handler();
  /* USER CODE END TIM3_Init 2 */

}

static void MX_TIM6_Init(void)
{

  TIM_MasterConfigTypeDef sMasterConfig = {0};

  htim6.Instance = TIM6;
  htim6.Init.Prescaler = (8000-1);
  htim6.Init.CounterMode = TIM_COUNTERMODE_UP;
  htim6.Init.Period = (200-1);
  htim6.Init.AutoReloadPreload = TIM_AUTORELOAD_PRELOAD_DISABLE;
  if (HAL_TIM_Base_Init(&htim6) != HAL_OK)
  {
    Error_Handler();
  }
  sMasterConfig.MasterOutputTrigger = TIM_TRGO_UPDATE;
  sMasterConfig.MasterSlaveMode = TIM_MASTERSLAVEMODE_DISABLE;
  if (HAL_TIMEx_MasterConfigSynchronization(&htim6, &sMasterConfig) != HAL_OK)
  {
    Error_Handler();
  }
  /* USER CODE BEGIN TIM6_Init 2 */
  sMasterConfig.MasterOutputTrigger = TIM_TRGO_RESET;
  sMasterConfig.MasterSlaveMode = TIM_MASTERSLAVEMODE_DISABLE;
  if (HAL_TIMEx_MasterConfigSynchronization(&htim6, &sMasterConfig) != HAL_OK)
  {
    Error_Handler();
  }

  /* USER CODE END TIM6_Init 2 */

}

static void MX_UART4_Init(void)
{

  huart4.Instance = UART4;
  huart4.Init.BaudRate = 9600;
  huart4.Init.WordLength = UART_WORDLENGTH_8B;
  huart4.Init.StopBits = UART_STOPBITS_1;
  huart4.Init.Parity = UART_PARITY_NONE;
  huart4.Init.Mode = UART_MODE_RX;
  huart4.Init.HwFlowCtl = UART_HWCONTROL_NONE;
  huart4.Init.OverSampling = UART_OVERSAMPLING_16;
  huart4.Init.OneBitSampling = UART_ONE_BIT_SAMPLE_DISABLE;
  huart4.AdvancedInit.AdvFeatureInit = UART_ADVFEATURE_NO_INIT;
  if (HAL_UART_Init(&huart4) != HAL_OK)
  {
    Error_Handler();
  }
  /* USER CODE BEGIN UART4_Init 2 */
  if (HAL_OK !=  HAL_UART_Receive_DMA(&huart4,(unsigned char*) buffc_DMA_UART, TAM_BUFNMEA))
		  Error_Handler();
  /* USER CODE END UART4_Init 2 */

}

static void MX_USART1_UART_Init(void)
{

  huart1.Instance = USART1;
  huart1.Init.BaudRate = 115200;
  huart1.Init.WordLength = UART_WORDLENGTH_8B;
  huart1.Init.StopBits = UART_STOPBITS_1;
  huart1.Init.Parity = UART_PARITY_NONE;
  huart1.Init.Mode = UART_MODE_TX_RX;
  huart1.Init.HwFlowCtl = UART_HWCONTROL_NONE;
  huart1.Init.OverSampling = UART_OVERSAMPLING_16;
  huart1.Init.OneBitSampling = UART_ONE_BIT_SAMPLE_DISABLE;
  huart1.AdvancedInit.AdvFeatureInit = UART_ADVFEATURE_NO_INIT;
  if (HAL_UART_Init(&huart1) != HAL_OK)
  {
    Error_Handler();
  }
  /* USER CODE BEGIN USART1_Init 2 */
  BSP_COM_Init(COM1,&huart1);		//Transmisión de los datos por el puerto USART1 al COM del ordenador por USB
  /* USER CODE END USART1_Init 2 */

}

static void MX_DMA_Init(void)
{

  /* DMA controller clock enable */
  __HAL_RCC_DMA1_CLK_ENABLE();
  __HAL_RCC_DMA2_CLK_ENABLE();

  /* DMA interrupt init */
  /* DMA1_Channel1_IRQn interrupt configuration */
  HAL_NVIC_SetPriority(DMA1_Channel1_IRQn, 0, 0);
  HAL_NVIC_EnableIRQ(DMA1_Channel1_IRQn);
  /* DMA2_Channel5_IRQn interrupt configuration */
  HAL_NVIC_SetPriority(DMA2_Channel5_IRQn, 0, 0);
  HAL_NVIC_EnableIRQ(DMA2_Channel5_IRQn);

}

static void MX_GPIO_Init(void)
{
  GPIO_InitTypeDef GPIO_InitStruct = {0};

  /* GPIO Ports Clock Enable */
  __HAL_RCC_GPIOE_CLK_ENABLE();
  __HAL_RCC_GPIOC_CLK_ENABLE();
  __HAL_RCC_GPIOA_CLK_ENABLE();
  __HAL_RCC_GPIOB_CLK_ENABLE();
  __HAL_RCC_GPIOD_CLK_ENABLE();

  /*Configure GPIO pin Output Level */
  HAL_GPIO_WritePin(GPIOE, RED_LED_Pin|ISM43362_RST_Pin, GPIO_PIN_RESET);

  /*Configure GPIO pin Output Level */
  HAL_GPIO_WritePin(GPIOC, ARD_A2_LEDON_Pin|ARD_A1_LEDWIFI_Pin|LED3_WIFI__LED4_BLE_Pin, GPIO_PIN_RESET);

  /*Configure GPIO pin Output Level */
  HAL_GPIO_WritePin(ARD_D10_MFT_GPIO_Port, ARD_D10_MFT_Pin, GPIO_PIN_RESET);

  /*Configure GPIO pin Output Level */
  HAL_GPIO_WritePin(GPIOA, ARD_D4_Pin|ARD_D7_Pin|ARD_D11_Pin, GPIO_PIN_SET);

  /*Configure GPIO pin Output Level */
  HAL_GPIO_WritePin(ARD_A0_3_3CTRL_GPIO_Port, ARD_A0_3_3CTRL_Pin, GPIO_PIN_SET);

  /*Configure GPIO pin Output Level */
  HAL_GPIO_WritePin(GPIOB, ARD_D6_Pin|ARD_D8_Pin|ARD_D5_Pin, GPIO_PIN_SET);

  /*Configure GPIO pin Output Level */
  HAL_GPIO_WritePin(GPIOB, ISM43362_BOOT0_Pin|ISM43362_WAKEUP_Pin|LED2_Pin, GPIO_PIN_RESET);

  /*Configure GPIO pin Output Level */
  HAL_GPIO_WritePin(GPIOD, PMOD_RESET_Pin|STSAFE_A100_RESET_Pin, GPIO_PIN_RESET);

  /*Configure GPIO pin Output Level */
  HAL_GPIO_WritePin(ISM43362_SPI3_CSN_GPIO_Port, ISM43362_SPI3_CSN_Pin, GPIO_PIN_SET);

  /*Configure GPIO pins : RED_LED_Pin ISM43362_RST_Pin ISM43362_SPI3_CSN_Pin */
  GPIO_InitStruct.Pin = RED_LED_Pin|ISM43362_RST_Pin|ISM43362_SPI3_CSN_Pin;
  GPIO_InitStruct.Mode = GPIO_MODE_OUTPUT_PP;
  GPIO_InitStruct.Pull = GPIO_NOPULL;
  GPIO_InitStruct.Speed = GPIO_SPEED_FREQ_LOW;
  HAL_GPIO_Init(GPIOE, &GPIO_InitStruct);

  /*Configure GPIO pin : BUTTON_EXTI13_Pin */
  GPIO_InitStruct.Pin = BUTTON_EXTI13_Pin;
  GPIO_InitStruct.Mode = GPIO_MODE_IT_FALLING;
  GPIO_InitStruct.Pull = GPIO_NOPULL;
  HAL_GPIO_Init(BUTTON_EXTI13_GPIO_Port, &GPIO_InitStruct);

  /*Configure GPIO pin : PC0 */
  GPIO_InitStruct.Pin = GPIO_PIN_0;
  GPIO_InitStruct.Mode = GPIO_MODE_ANALOG_ADC_CONTROL;
  GPIO_InitStruct.Pull = GPIO_NOPULL;
  HAL_GPIO_Init(GPIOC, &GPIO_InitStruct);

  /*Configure GPIO pins : ARD_A2_LEDON_Pin ARD_A1_LEDWIFI_Pin LED3_WIFI__LED4_BLE_Pin */
  GPIO_InitStruct.Pin = ARD_A2_LEDON_Pin|ARD_A1_LEDWIFI_Pin|LED3_WIFI__LED4_BLE_Pin;
  GPIO_InitStruct.Mode = GPIO_MODE_OUTPUT_PP;
  GPIO_InitStruct.Pull = GPIO_NOPULL;
  GPIO_InitStruct.Speed = GPIO_SPEED_FREQ_LOW;
  HAL_GPIO_Init(GPIOC, &GPIO_InitStruct);

  /*Configure GPIO pin : ARD_D10_MFT_Pin */
  GPIO_InitStruct.Pin = ARD_D10_MFT_Pin;
  GPIO_InitStruct.Mode = GPIO_MODE_OUTPUT_PP;
  GPIO_InitStruct.Pull = GPIO_PULLDOWN;
  GPIO_InitStruct.Speed = GPIO_SPEED_FREQ_LOW;
  HAL_GPIO_Init(ARD_D10_MFT_GPIO_Port, &GPIO_InitStruct);

  /*Configure GPIO pins : ARD_D4_Pin ARD_D7_Pin ARD_D11_Pin */
  GPIO_InitStruct.Pin = ARD_D4_Pin|ARD_D7_Pin|ARD_D11_Pin;
  GPIO_InitStruct.Mode = GPIO_MODE_OUTPUT_PP;
  GPIO_InitStruct.Pull = GPIO_PULLUP;
  GPIO_InitStruct.Speed = GPIO_SPEED_FREQ_LOW;
  HAL_GPIO_Init(GPIOA, &GPIO_InitStruct);

  /*Configure GPIO pin : ARD_A0_3_3CTRL_Pin */
  GPIO_InitStruct.Pin = ARD_A0_3_3CTRL_Pin;
  GPIO_InitStruct.Mode = GPIO_MODE_OUTPUT_PP;
  GPIO_InitStruct.Pull = GPIO_PULLUP;
  GPIO_InitStruct.Speed = GPIO_SPEED_FREQ_LOW;
  HAL_GPIO_Init(ARD_A0_3_3CTRL_GPIO_Port, &GPIO_InitStruct);

  /*Configure GPIO pins : ARD_D6_Pin ARD_D8_Pin ARD_D5_Pin */
  GPIO_InitStruct.Pin = ARD_D6_Pin|ARD_D8_Pin|ARD_D5_Pin;
  GPIO_InitStruct.Mode = GPIO_MODE_OUTPUT_PP;
  GPIO_InitStruct.Pull = GPIO_PULLUP;
  GPIO_InitStruct.Speed = GPIO_SPEED_FREQ_LOW;
  HAL_GPIO_Init(GPIOB, &GPIO_InitStruct);

  /*Configure GPIO pins : DFSDM1_DATIN2_Pin DFSDM1_CKOUT_Pin */
  GPIO_InitStruct.Pin = DFSDM1_DATIN2_Pin|DFSDM1_CKOUT_Pin;
  GPIO_InitStruct.Mode = GPIO_MODE_AF_PP;
  GPIO_InitStruct.Pull = GPIO_NOPULL;
  GPIO_InitStruct.Speed = GPIO_SPEED_FREQ_LOW;
  GPIO_InitStruct.Alternate = GPIO_AF6_DFSDM1;
  HAL_GPIO_Init(GPIOE, &GPIO_InitStruct);

  /*Configure GPIO pins : QUADSPI_CLK_Pin QUADSPI_NCS_Pin OQUADSPI_BK1_IO0_Pin QUADSPI_BK1_IO1_Pin
                           QUAD_SPI_BK1_IO2_Pin QUAD_SPI_BK1_IO3_Pin */
  GPIO_InitStruct.Pin = QUADSPI_CLK_Pin|QUADSPI_NCS_Pin|OQUADSPI_BK1_IO0_Pin|QUADSPI_BK1_IO1_Pin
                          |QUAD_SPI_BK1_IO2_Pin|QUAD_SPI_BK1_IO3_Pin;
  GPIO_InitStruct.Mode = GPIO_MODE_AF_PP;
  GPIO_InitStruct.Pull = GPIO_NOPULL;
  GPIO_InitStruct.Speed = GPIO_SPEED_FREQ_VERY_HIGH;
  GPIO_InitStruct.Alternate = GPIO_AF10_QUADSPI;
  HAL_GPIO_Init(GPIOE, &GPIO_InitStruct);

  /*Configure GPIO pins : ISM43362_BOOT0_Pin ISM43362_WAKEUP_Pin LED2_Pin */
  GPIO_InitStruct.Pin = ISM43362_BOOT0_Pin|ISM43362_WAKEUP_Pin|LED2_Pin;
  GPIO_InitStruct.Mode = GPIO_MODE_OUTPUT_PP;
  GPIO_InitStruct.Pull = GPIO_NOPULL;
  GPIO_InitStruct.Speed = GPIO_SPEED_FREQ_LOW;
  HAL_GPIO_Init(GPIOB, &GPIO_InitStruct);

  /*Configure GPIO pins : INTERNAL_UART3_TX_Pin INTERNAL_UART3_RX_Pin */
  GPIO_InitStruct.Pin = INTERNAL_UART3_TX_Pin|INTERNAL_UART3_RX_Pin;
  GPIO_InitStruct.Mode = GPIO_MODE_AF_PP;
  GPIO_InitStruct.Pull = GPIO_NOPULL;
  GPIO_InitStruct.Speed = GPIO_SPEED_FREQ_VERY_HIGH;
  GPIO_InitStruct.Alternate = GPIO_AF7_USART3;
  HAL_GPIO_Init(GPIOD, &GPIO_InitStruct);

  /*Configure GPIO pins : LPS22HB_INT_DRDY_EXTI0_Pin LSM6DSL_INT1_EXTI11_Pin HTS221_DRDY_EXTI15_Pin PMOD_IRQ_EXTI12_Pin */
  GPIO_InitStruct.Pin = LPS22HB_INT_DRDY_EXTI0_Pin|LSM6DSL_INT1_EXTI11_Pin|HTS221_DRDY_EXTI15_Pin|PMOD_IRQ_EXTI12_Pin;
  GPIO_InitStruct.Mode = GPIO_MODE_IT_RISING;
  GPIO_InitStruct.Pull = GPIO_NOPULL;
  HAL_GPIO_Init(GPIOD, &GPIO_InitStruct);

  /*Configure GPIO pin : LSM3MDL_DRDY_EXTI8_Pin */
  GPIO_InitStruct.Pin = LSM3MDL_DRDY_EXTI8_Pin;
  GPIO_InitStruct.Mode = GPIO_MODE_IT_RISING;
  GPIO_InitStruct.Pull = GPIO_NOPULL;
  HAL_GPIO_Init(LSM3MDL_DRDY_EXTI8_GPIO_Port, &GPIO_InitStruct);

  /*Configure GPIO pins : PMOD_RESET_Pin STSAFE_A100_RESET_Pin */
  GPIO_InitStruct.Pin = PMOD_RESET_Pin|STSAFE_A100_RESET_Pin;
  GPIO_InitStruct.Mode = GPIO_MODE_OUTPUT_PP;
  GPIO_InitStruct.Pull = GPIO_NOPULL;
  GPIO_InitStruct.Speed = GPIO_SPEED_FREQ_LOW;
  HAL_GPIO_Init(GPIOD, &GPIO_InitStruct);

  /*Configure GPIO pin : PMOD_SPI2_SCK_Pin */
  GPIO_InitStruct.Pin = PMOD_SPI2_SCK_Pin;
  GPIO_InitStruct.Mode = GPIO_MODE_AF_PP;
  GPIO_InitStruct.Pull = GPIO_NOPULL;
  GPIO_InitStruct.Speed = GPIO_SPEED_FREQ_VERY_HIGH;
  GPIO_InitStruct.Alternate = GPIO_AF5_SPI2;
  HAL_GPIO_Init(PMOD_SPI2_SCK_GPIO_Port, &GPIO_InitStruct);

  /*Configure GPIO pins : PMOD_UART2_CTS_Pin PMOD_UART2_RTS_Pin PMOD_UART2_TX_Pin PMOD_UART2_RX_Pin */
  GPIO_InitStruct.Pin = PMOD_UART2_CTS_Pin|PMOD_UART2_RTS_Pin|PMOD_UART2_TX_Pin|PMOD_UART2_RX_Pin;
  GPIO_InitStruct.Mode = GPIO_MODE_AF_PP;
  GPIO_InitStruct.Pull = GPIO_NOPULL;
  GPIO_InitStruct.Speed = GPIO_SPEED_FREQ_VERY_HIGH;
  GPIO_InitStruct.Alternate = GPIO_AF7_USART2;
  HAL_GPIO_Init(GPIOD, &GPIO_InitStruct);

  /*Configure GPIO pins : ARD_D15_Pin ARD_D14_Pin */
  GPIO_InitStruct.Pin = ARD_D15_Pin|ARD_D14_Pin;
  GPIO_InitStruct.Mode = GPIO_MODE_AF_OD;
  GPIO_InitStruct.Pull = GPIO_PULLUP;
  GPIO_InitStruct.Speed = GPIO_SPEED_FREQ_VERY_HIGH;
  GPIO_InitStruct.Alternate = GPIO_AF4_I2C1;
  HAL_GPIO_Init(GPIOB, &GPIO_InitStruct);

  /*Configure GPIO pin : ISM43362_DRDY_EXTI1_Pin */
  GPIO_InitStruct.Pin = ISM43362_DRDY_EXTI1_Pin;
  GPIO_InitStruct.Mode = GPIO_MODE_IT_RISING;
  GPIO_InitStruct.Pull = GPIO_NOPULL;
  HAL_GPIO_Init(ISM43362_DRDY_EXTI1_GPIO_Port, &GPIO_InitStruct);

  /* EXTI interrupt init*/
  HAL_NVIC_SetPriority(EXTI9_5_IRQn, 0, 0);
  HAL_NVIC_EnableIRQ(EXTI9_5_IRQn);

  HAL_NVIC_SetPriority(EXTI15_10_IRQn, 0, 0);
  HAL_NVIC_EnableIRQ(EXTI15_10_IRQn);

}

/* USER CODE BEGIN 4 */
void HAL_ADC_Conv_CpltCallback(ADC_HandleTypeDef* hadc)
{
	if (HAL_OK != HAL_ADC_Stop_DMA(&hadc1))
		Error_Handler();
}

/**********************Funciones para habilitar el envío de mensajes por el USART1 al COM del ordenador*********
 * **********************************************************************************************************
 */
#if (defined(__GNUC__) && !defined(__CC_ARM))
#define PUTCHAR_PROTOTYPE int __io_putchar(int ch)
#define GETCHAR_PROTOTYPE int __io_getchar(void)
#else
#define PUTCHAR_PROTOTYPE int fputc(int ch, FILE *f)
#define GETCHAR_PROTOTYPE int fgetc(FILE *f)
#endif /* __GNUC__ */

/**
  * @brief  Retargets the C library printf function to the USART.
  * @param  None
  * @retval None
  */
PUTCHAR_PROTOTYPE
{
  /* Place your implementation of fputc here */
  /* e.g. write a character to the USART2 and Loop until the end of transmission */
  while (HAL_OK != HAL_UART_Transmit(&huart1, (uint8_t *) &ch, 1, 30000))
  {
    ;
  }
  return ch;
}

/**
  * @brief  Retargets the C library scanf function to the USART.
  * @param  None
  * @retval None
  */
GETCHAR_PROTOTYPE
{
  /* Place your implementation of fgetc here */
  /* e.g. read a character on USART and loop until the end of read */
  uint8_t ch = 0;
  while (HAL_OK != HAL_UART_Receive(&huart1, (uint8_t *)&ch, 1, 30000))
  {
    ;
  }
  return ch;
}

/**
  * @brief  Interrupción llamada por DMA del UART4 al sobrepasar la mitad del buffer del DMA
  * Su función es actualizar los punteros para acotar el mensaje y no permitir condiciones de carrera
  * @param  None
  * @retval None
  */
void HAL_UART_RxHalfCpltCallback(UART_HandleTypeDef *huart)  //funciones de Callback de las interrupciones
{
	old_pos = pos;
	while( HAL_OK != UART_CheckIdleState(&huart4) );
		//mientras no está ocioso, esperamos un poco para evitar condiciones de carrera
	pos= TAM_BUFNMEA - (huart4.hdmarx->Instance->CNDTR);
}

/**
  * @brief  Interrupción llamada por DMA del UART4 al sobrepasar por completo el buffer del DMA
  * Su función es actualizar los punteros para acotar el mensaje y no permitir condiciones de carrera
  * @param  None
  * @retval None
  */
void HAL_UART_RxCpltCallback(UART_HandleTypeDef *huart)
{
	old_pos = pos;
	while( HAL_OK != UART_CheckIdleState(&huart4) );
		//mientras no está ocioso, esperamos un poco para evitar condiciones de carrera
	pos= TAM_BUFNMEA - (huart4.hdmarx->Instance->CNDTR);
}

/**
  * @brief  Llamada a función extern que implementa la aplicación IoT de lectura-publicación datos
  * @param  None
  * @retval None
  */
static void conexion_IoT( void )
{
  aplicacion_ClienteMQTT_XCLD_IoT();
}

/**
  * @brief Update button ISR status
  */
static void Button_ISR(void)
{
  button_flags++;
}

/**
  * @brief Obtiene el numero de veces que se ha pulsado el boton de usuario
  */
uint8_t Boton_GetNumPush(void)
{

  if (button_flags > 1)
  {
    button_flags = 0;
    return BP_MULTIPLE_PUSH;
  }

  if (button_flags == 1)
  {
    button_flags = 0;
    return BP_SINGLE_PUSH;
  }
  return BP_NOT_PUSHED;
}

void HAL_GPIO_EXTI_Callback(uint16_t GPIO_Pin)
{
  switch (GPIO_Pin)
  {
    case (GPIO_PIN_13):
    {
      Button_ISR();
      break;
    }

	case (GPIO_PIN_1):
	{
		SPI_WIFI_ISR();
		break;
	}

    default:
    {
      break;
    }
  }
}

/* USER CODE END 4 */

void Error_Handler(void)
{
  /* USER CODE BEGIN Error_Handler_Debug */
  /* User can add his own implementation to report the HAL error return state */
	  while(1)			//En caso de error, informa, espera y reinicia el programa
	  {
		printf("\n\n\n\t                  E R R O R                 \n");
		printf("\t Error_Handler ha sido invocado. Se reseteara el programa...\n\n");
		HAL_Delay(5000);
	    HAL_NVIC_SystemReset();
	   }
  /* USER CODE END Error_Handler_Debug */
}

/************************ (C) COPYRIGHT STMicroelectronics *****END OF FILE****/
